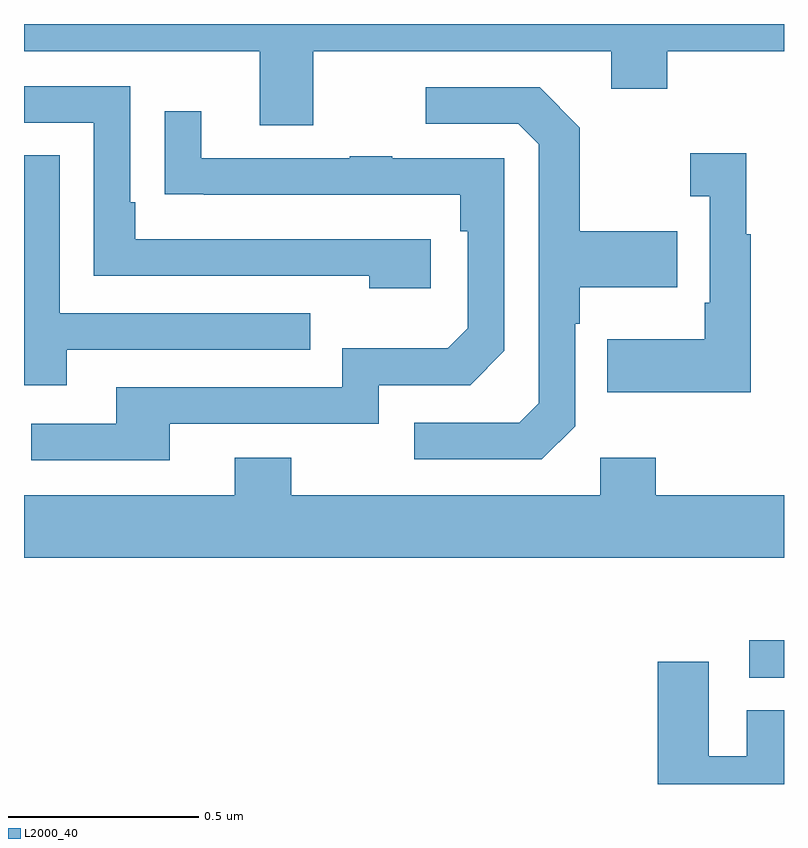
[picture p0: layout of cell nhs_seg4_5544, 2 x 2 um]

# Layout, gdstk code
import gdstk
lib = gdstk.Library(unit=1e-6, precision=1e-09)
def R(c, l, rs):  # rectangles x0, y0, x1, y1
    for r in rs: c.add(gdstk.rectangle(r[:2], r[2:], *l))
def P(c, l, *ps):  # polygons
    for p in ps: c.add(gdstk.Polygon(p, *l))
L2000_40 = (2000, 40)

nhs_seg4_5544 = lib.new_cell('nhs_seg4_5544')
R(nhs_seg4_5544, L2000_40, [(180.909,787.179,181,787.278)])
P(nhs_seg4_5544, L2000_40, [(179.761,788.828),(180.545,788.828),(180.545,788.729),(180.693,788.729),(180.693,788.828),(181,788.828),(181,788.9),(179,788.9),(179,788.828),(179.621,788.828),(179.621,788.634),(179.761,788.634)],
  [(180.07,788.334),(179.293,788.334),(179.293,788.431),(179.28,788.431),(179.28,788.736),(179,788.736),(179,788.64),(179.184,788.64),(179.184,788.238),(179.909,788.238),(179.909,788.204),(180.07,788.204)],
  [(180.45,787.842),(180.45,788.111),(180.463,788.111),(180.463,788.207),(180.719,788.207),(180.719,788.355),(180.463,788.355),(180.463,788.627),(180.357,788.733),(180.057,788.733),(180.057,788.637),(180.3,788.637),(180.354,788.583),(180.354,787.902),(180.303,787.851),(180.027,787.851),(180.027,787.755),(180.363,787.755)],
  [(179.383,787.848),(179.934,787.848),(179.934,787.95),(180.174,787.95),(180.264,788.04),(180.264,788.547),(179.969,788.547),(179.969,788.552),(179.857,788.552),(179.857,788.547),(179.467,788.547),(179.467,788.671),(179.371,788.671),(179.371,788.452),(179.473,788.452),(179.473,788.451),(180.148,788.451),(180.148,788.354),(180.168,788.354),(180.168,788.1),(180.115,788.047),(179.838,788.047),(179.838,787.944),(179.243,787.944),(179.243,787.848),(179.019,787.848),(179.019,787.752),(179.383,787.752)],
  [(180.913,788.347),(180.901,788.347),(180.901,788.56),(180.753,788.56),(180.753,788.447),(180.804,788.447),(180.804,788.167),(180.792,788.167),(180.792,788.071),(180.535,788.071),(180.535,787.931),(180.913,787.931)],
  [(179.113,788.043),(179.753,788.043),(179.753,788.139),(179.094,788.139),(179.094,788.555),(179,788.555),(179,787.949),(179.113,787.949)],
  [(181,787.66),(180.663,787.66),(180.663,787.759),(180.516,787.759),(180.516,787.66),(179.703,787.66),(179.703,787.759),(179.555,787.759),(179.555,787.66),(179,787.66),(179,787.496),(181,787.496)],
  [(181,787.094),(180.902,787.094),(180.902,786.973),(180.802,786.973),(180.802,787.222),(180.668,787.222),(180.668,786.9),(181,786.9)])

lib.write_gds('nhs_seg4_5544.gds')
